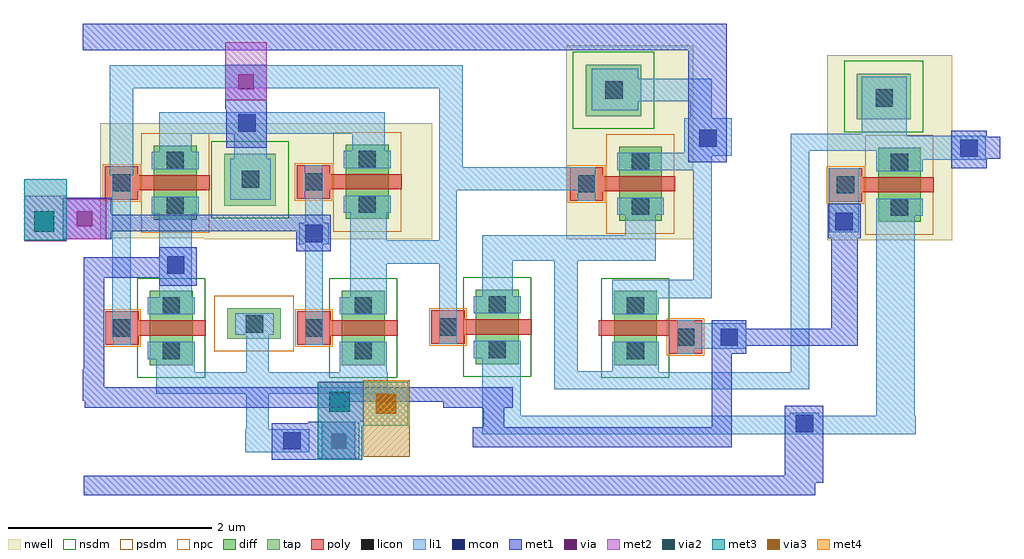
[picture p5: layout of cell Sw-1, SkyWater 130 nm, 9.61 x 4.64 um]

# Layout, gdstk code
import gdstk
lib = gdstk.Library(unit=1e-6, precision=1e-09)
def R(c, l, rs):  # rectangles x0, y0, x1, y1
    for r in rs: c.add(gdstk.rectangle(r[:2], r[2:], *l))
nwell = (64, 20)
diff = (65, 20)
tap = (65, 44)
poly = (66, 20)
licon = (66, 44)
li1 = (67, 20)
mcon = (67, 44)
met1 = (68, 20)
via = (68, 44)
met2 = (69, 20)
via2 = (69, 44)
met3 = (70, 20)
via3 = (70, 44)
met4 = (71, 20)
nsdm = (93, 44)
psdm = (94, 20)
npc = (95, 20)

sky130_fd_pr__nfet_01v8_ = lib.new_cell('sky130_fd_pr__nfet_01v8_dma3uj')
R(sky130_fd_pr__nfet_01v8_, diff, [(0.155,0.345,0.575,1.075)])
R(sky130_fd_pr__nfet_01v8_, poly, [(-0.285,0.545,0.045,0.635), (-0.285,0.635,0.705,0.785), (-0.285,0.785,0.045,0.875)])
R(sky130_fd_pr__nfet_01v8_, licon, [(0.28,0.405,0.45,0.575), (-0.205,0.625,-0.035,0.795), (0.28,0.845,0.45,1.015)])
R(sky130_fd_pr__nfet_01v8_, li1, [(0.135,0.405,0.595,0.575), (-0.205,0.545,-0.035,0.595), (-0.215,0.595,-0.035,2.285), (0.135,0.845,0.595,1.015)])
R(sky130_fd_pr__nfet_01v8_, nsdm, [(0.03,0.22,0.7,1.2)])
R(sky130_fd_pr__nfet_01v8_, npc, [(-0.305,0.525,0.065,0.895)])

sky130_fd_pr__pfet_01v8_ = lib.new_cell('sky130_fd_pr__pfet_01v8_hf7xew')
R(sky130_fd_pr__pfet_01v8_, nwell, [(-0.545,-0.615,0.685,0.475)])
R(sky130_fd_pr__pfet_01v8_, diff, [(-0.045,-0.435,0.375,0.295)])
R(sky130_fd_pr__pfet_01v8_, poly, [(-0.53,-0.235,-0.2,-0.145), (-0.53,-0.145,0.505,0.005), (-0.53,0.005,-0.2,0.095)])
R(sky130_fd_pr__pfet_01v8_, licon, [(0.08,-0.375,0.25,-0.205), (-0.45,-0.155,-0.28,0.015), (0.08,0.065,0.25,0.235)])
R(sky130_fd_pr__pfet_01v8_, li1, [(-0.065,-0.375,0.395,-0.205), (-0.45,-0.235,-0.28,0.095), (-0.065,0.065,0.395,0.235)])
R(sky130_fd_pr__pfet_01v8_, psdm, [(-0.17,-0.56,0.5,0.42)])
R(sky130_fd_pr__pfet_01v8_, npc, [(-0.55,-0.255,-0.18,0.115)])

c_sky130_fd_pr__nfet_01v8_ = lib.new_cell('sky130_fd_pr__nfet_01v8_raze6j')

c_sky130_fd_pr__nfet_01v8__ = lib.new_cell('sky130_fd_pr__nfet_01v8_p8bhg1')

c_sky130_fd_pr__nfet_01v8___ = lib.new_cell('sky130_fd_pr__nfet_01v8_j74adr')
R(c_sky130_fd_pr__nfet_01v8___, diff, [(0.545,1.245,0.965,1.975)])
R(c_sky130_fd_pr__nfet_01v8___, poly, [(0.105,1.445,0.435,1.535), (0.105,1.535,1.095,1.685), (0.105,1.685,0.435,1.775)])
R(c_sky130_fd_pr__nfet_01v8___, licon, [(0.67,1.305,0.84,1.475), (0.185,1.525,0.355,1.695), (0.67,1.745,0.84,1.915)])
R(c_sky130_fd_pr__nfet_01v8___, li1, [(0.525,1.305,0.985,1.475), (0.185,1.445,0.355,1.775), (0.525,1.745,0.985,1.915)])
R(c_sky130_fd_pr__nfet_01v8___, nsdm, [(0.42,1.12,1.09,2.1)])
R(c_sky130_fd_pr__nfet_01v8___, npc, [(0.085,1.425,0.455,1.795)])

c_sky130_fd_pr__pfet_01v8_ = lib.new_cell('sky130_fd_pr__pfet_01v8_b4l3oq')
R(c_sky130_fd_pr__pfet_01v8_, nwell, [(-0.555,-0.635,0.675,0.455)])
R(c_sky130_fd_pr__pfet_01v8_, diff, [(-0.055,-0.455,0.365,0.275)])
R(c_sky130_fd_pr__pfet_01v8_, poly, [(-0.54,-0.255,-0.21,-0.165), (-0.54,-0.165,0.495,-0.015), (-0.54,-0.015,-0.21,0.075)])
R(c_sky130_fd_pr__pfet_01v8_, licon, [(0.07,-0.395,0.24,-0.225), (-0.46,-0.175,-0.29,-0.005), (0.07,0.045,0.24,0.215)])
R(c_sky130_fd_pr__pfet_01v8_, li1, [(-0.075,-0.395,0.385,-0.225), (-0.46,-0.255,-0.29,0.075), (-0.075,0.045,0.385,0.215)])
R(c_sky130_fd_pr__pfet_01v8_, psdm, [(-0.18,-0.58,0.49,0.4)])
R(c_sky130_fd_pr__pfet_01v8_, npc, [(-0.56,-0.275,-0.19,0.095)])

c_sky130_fd_pr__nfet_01v8____ = lib.new_cell('sky130_fd_pr__nfet_01v8_5uk7v6')

c_sky130_fd_pr__nfet_01v8_____ = lib.new_cell('sky130_fd_pr__nfet_01v8_h5gdbm')
R(c_sky130_fd_pr__nfet_01v8_____, diff, [(-0.065,1.275,0.355,2.005)])
R(c_sky130_fd_pr__nfet_01v8_____, poly, [(-0.505,1.475,-0.175,1.565), (-0.505,1.565,0.485,1.715), (-0.505,1.715,-0.175,1.805)])
R(c_sky130_fd_pr__nfet_01v8_____, licon, [(0.06,1.335,0.23,1.505), (-0.425,1.555,-0.255,1.725), (0.06,1.775,0.23,1.945)])
R(c_sky130_fd_pr__nfet_01v8_____, li1, [(-0.085,1.335,0.375,1.505), (-0.425,1.475,-0.255,1.805), (-0.085,1.775,0.375,1.945)])
R(c_sky130_fd_pr__nfet_01v8_____, nsdm, [(-0.19,1.15,0.48,2.13)])
R(c_sky130_fd_pr__nfet_01v8_____, npc, [(-0.525,1.455,-0.155,1.825)])

c_sky130_fd_pr__nfet_01v8______ = lib.new_cell('sky130_fd_pr__nfet_01v8_lz0viw')
R(c_sky130_fd_pr__nfet_01v8______, diff, [(-0.125,1.275,0.295,2.005)])
R(c_sky130_fd_pr__nfet_01v8______, poly, [(0.415,1.385,0.745,1.565), (-0.275,1.565,0.745,1.715)])
R(c_sky130_fd_pr__nfet_01v8______, licon, [(0,1.335,0.17,1.505), (0.495,1.465,0.665,1.635), (0,1.775,0.17,1.945)])
R(c_sky130_fd_pr__nfet_01v8______, li1, [(-0.145,1.335,0.315,1.505), (0.495,1.385,0.665,1.715), (-0.145,1.775,0.315,1.945)])
R(c_sky130_fd_pr__nfet_01v8______, nsdm, [(-0.25,1.15,0.42,2.13)])
R(c_sky130_fd_pr__nfet_01v8______, npc, [(0.395,1.365,0.765,1.735)])

c_sky130_fd_pr__pfet_01v8__ = lib.new_cell('sky130_fd_pr__pfet_01v8_htftno')
R(c_sky130_fd_pr__pfet_01v8__, nwell, [(-0.935,-0.665,0.295,0.425)])
R(c_sky130_fd_pr__pfet_01v8__, diff, [(-0.435,-0.485,-0.015,0.245)])
R(c_sky130_fd_pr__pfet_01v8__, poly, [(-0.92,-0.285,-0.59,-0.195), (-0.92,-0.195,0.115,-0.045), (-0.92,-0.045,-0.59,0.045)])
R(c_sky130_fd_pr__pfet_01v8__, licon, [(-0.31,-0.425,-0.14,-0.255), (-0.84,-0.205,-0.67,-0.035), (-0.31,0.015,-0.14,0.185)])
R(c_sky130_fd_pr__pfet_01v8__, li1, [(-0.455,-0.425,0.005,-0.255), (-0.84,-0.285,-0.67,0.045), (-0.455,0.015,0.005,0.185)])
R(c_sky130_fd_pr__pfet_01v8__, psdm, [(-0.56,-0.61,0.11,0.37)])
R(c_sky130_fd_pr__pfet_01v8__, npc, [(-0.94,-0.305,-0.57,0.065)])

c_sky130_fd_pr__pfet_01v8___ = lib.new_cell('sky130_fd_pr__pfet_01v8_k0ujpa')
R(c_sky130_fd_pr__pfet_01v8___, nwell, [(-1.255,-0.705,-0.025,0.385)])
R(c_sky130_fd_pr__pfet_01v8___, diff, [(-0.755,-0.525,-0.335,0.205)])
R(c_sky130_fd_pr__pfet_01v8___, poly, [(-1.24,-0.325,-0.91,-0.235), (-1.24,-0.235,-0.205,-0.085), (-1.24,-0.085,-0.91,0.005)])
R(c_sky130_fd_pr__pfet_01v8___, licon, [(-0.63,-0.465,-0.46,-0.295), (-1.16,-0.245,-0.99,-0.075), (-0.63,-0.025,-0.46,0.145)])
R(c_sky130_fd_pr__pfet_01v8___, li1, [(-0.775,-0.465,-0.315,-0.295), (-1.16,-0.325,-0.99,0.005), (-0.775,-0.025,-0.315,0.145)])
R(c_sky130_fd_pr__pfet_01v8___, psdm, [(-0.88,-0.65,-0.21,0.33)])
R(c_sky130_fd_pr__pfet_01v8___, npc, [(-1.26,-0.345,-0.89,0.025)])

sw_1 = lib.new_cell('Sw-1')
R(sw_1, nwell, [(7.21,2.96,8.44,3.75), (1.08,2.97,3.32,3.01), (4.64,2.97,5.89,4.88), (0.05,2.98,0.14,3.01), (0.05,3.01,0.15,3.38), (0.35,3.01,3.32,3.08), (0.35,3.08,2.87,3.1), (3.08,3.08,3.32,3.1), (0.35,3.1,3.32,3.32), (0.35,3.32,1.22,3.53), (1.25,3.32,3.32,3.8), (0.05,3.38,0.17,3.53), (0.05,3.53,1.22,3.79), (7.69,3.75,8.44,3.84), (0.05,3.79,1.24,3.8), (0.05,3.8,3.32,4.11), (7.21,3.84,8.44,4.78)])
R(sw_1, tap, [(1.3,1.99,1.83,2.29), (1.27,3.3,1.78,3.81), (7.5,4.15,8.03,4.6), (4.83,4.18,5.38,4.69)])
R(sw_1, licon, [(1.485,2.05,1.655,2.22), (1.445,3.475,1.615,3.645), (7.685,4.275,7.855,4.445), (5.025,4.355,5.195,4.525)])
R(sw_1, li1, [(1.48,0.87,2.11,1.1), (3.81,1.05,8.08,1.23), (1.49,1.1,1.71,1.45), (3.81,1.23,4.19,1.97), (6.84,1.23,7.13,1.26), (7.69,1.23,8.07,3.36), (0.6,1.45,2.88,1.66), (4.52,1.49,7.03,1.66), (0.6,1.66,0.98,1.84), (1.49,1.66,1.71,2.03), (2.41,1.66,2.87,1.84), (4.52,1.66,5.55,1.67), (6.85,1.66,7.03,3.84), (4.52,1.67,4.75,2.76), (5.09,1.67,5.55,1.86), (0.6,1.84,0.9,1.93), (2.41,1.84,2.79,1.85), (2.49,1.85,2.79,1.93), (5.09,1.86,5.47,1.92), (5.73,1.89,6.41,2.14), (5.17,1.92,5.47,1.96), (2.07,1.98,2.24,2.07), (3.39,2.02,3.56,2.73), (1.38,2.03,1.76,2.24), (2.12,2.07,2.24,2.22), (2.07,2.22,2.24,2.92), (5.45,2.23,5.55,2.24), (3.81,2.24,4.11,2.76), (5.22,2.24,5.55,2.39), (2.51,2.33,2.87,2.73), (0.63,2.35,0.95,3.31), (5.09,2.39,6.07,2.57), (5.89,2.57,6.07,3.65), (2.51,2.73,3.56,2.96), (3.81,2.76,5.52,3.01), (2.01,2.92,2.3,3.13), (2.51,2.96,2.87,3.39), (3.39,2.96,3.56,3.45), (5.22,3.01,5.52,3.38), (7.23,3.04,7.52,3.67), (2.07,3.13,2.24,3.62), (1.33,3.36,1.73,3.76), (4.75,3.38,4.92,3.45), (3.39,3.45,4.92,3.68), (0.145,3.595,0.375,4.455), (7.69,3.64,8.15,3.75), (5.45,3.65,6.07,3.79), (0.63,3.66,0.95,4.01), (2.53,3.67,2.85,4.01), (3.39,3.68,3.62,4.455), (7.69,3.75,8.77,3.84), (1.37,3.76,1.69,4.01), (5.45,3.79,6.27,3.82), (5.8,3.82,6.27,4.16), (6.85,3.84,8.77,3.99), (6.85,3.99,7.99,4.01), (0.63,4.01,2.85,4.22), (7.55,4.01,7.99,4.57), (5.86,4.16,6.07,4.33), (4.89,4.24,5.35,4.33), (4.89,4.33,6.07,4.55), (0.145,4.455,3.62,4.685), (4.89,4.55,5.35,4.65)])
R(sw_1, mcon, [(1.855,0.9,2.025,1.07), (6.9,1.07,7.07,1.24), (6.16,1.92,6.33,2.09), (0.71,2.63,0.88,2.8), (2.07,2.94,2.24,3.11), (7.29,3.06,7.46,3.23), (8.52,3.78,8.69,3.95), (5.95,3.88,6.12,4.05), (1.41,4.03,1.58,4.2)])
R(sw_1, met1, [(-0.11,0.45,7.09,0.57), (-0.11,0.57,7.17,0.64), (6.79,0.64,7.17,1.33), (1.74,0.8,2.2,0.81), (1.74,0.81,2.56,1.16), (3.72,0.92,6.27,1.12), (3.82,1.12,4.03,1.31), (6.07,1.12,6.27,1.84), (2.1,1.16,2.56,1.17), (-0.1,1.31,2.46,1.37), (3.43,1.31,4.11,1.37), (-0.1,1.37,4.11,1.38), (-0.12,1.38,4.11,1.51), (-0.12,1.51,0.09,1.69), (-0.11,1.69,0.09,2.59), (6.07,1.84,6.41,1.92), (6.07,1.92,7.51,2.09), (6.07,2.09,6.41,2.17), (7.25,2.09,7.51,2.98), (0.63,2.51,1,2.59), (-0.11,2.59,1,2.79), (0.63,2.79,1,2.89), (1.98,2.85,2.32,3.05), (-0.32,2.97,0.16,3.05), (7.22,2.98,7.54,3.32), (-0.32,3.05,2.32,3.21), (-0.32,3.21,0.16,3.38), (8.43,3.67,8.78,3.76), (5.84,3.73,6.22,4.83), (8.43,3.76,8.91,3.98), (1.29,3.87,1.69,4.25), (8.43,3.98,8.78,4.04), (1.28,4.25,1.69,4.69), (-0.12,4.83,6.22,5.09)])
R(sw_1, via, [(2.325,0.905,2.475,1.055), (-0.18,3.095,-0.03,3.245), (1.41,4.445,1.56,4.595)])
R(sw_1, met2, [(2.23,0.81,2.6,1.17), (2.19,1.17,2.64,1.56), (-0.7,2.95,-0.28,2.97), (-0.7,2.97,0.11,3.37), (-0.7,3.37,-0.28,3.4), (1.28,4.34,1.69,4.91)])
R(sw_1, via2, [(2.305,1.27,2.505,1.47), (-0.6,3.045,-0.4,3.245)])
R(sw_1, met3, [(2.19,0.8,2.63,1.135), (2.19,1.135,3.085,1.55), (2.2,1.55,3.085,1.565), (-0.7,2.96,-0.28,3.56)])
R(sw_1, via3, [(2.765,1.25,2.965,1.45)])
R(sw_1, met4, [(2.64,0.83,3.1,1.58)])
R(sw_1, nsdm, [(1.145,3.175,1.905,3.935), (7.375,4.025,8.155,4.725), (4.705,4.055,5.505,4.815)])
R(sw_1, psdm, [(1.175,1.865,1.955,2.415)])
sw_1.add(gdstk.Reference(sky130_fd_pr__nfet_01v8_, (0.385,1.385)))
sw_1.add(gdstk.Reference(sky130_fd_pr__pfet_01v8_, (0.625,3.595)))
sw_1.add(gdstk.Reference(c_sky130_fd_pr__nfet_01v8_, (0.605,0.6)))
sw_1.add(gdstk.Reference(c_sky130_fd_pr__nfet_01v8__, (0.365,0.495)))
sw_1.add(gdstk.Reference(c_sky130_fd_pr__nfet_01v8___, (1.885,0.485)))
sw_1.add(gdstk.Reference(c_sky130_fd_pr__pfet_01v8_, (2.525,3.625)))
sw_1.add(gdstk.Reference(c_sky130_fd_pr__nfet_01v8____, (1.385,3.74)))
sw_1.add(gdstk.Reference(c_sky130_fd_pr__nfet_01v8_____, (3.815,0.465)))
sw_1.add(gdstk.Reference(c_sky130_fd_pr__nfet_01v8______, (5.235,0.455)))
sw_1.add(gdstk.Reference(c_sky130_fd_pr__pfet_01v8__, (5.595,3.635)))
sw_1.add(gdstk.Reference(c_sky130_fd_pr__pfet_01v8___, (8.465,3.665)))

lib.write_gds('Sw-1.gds')
